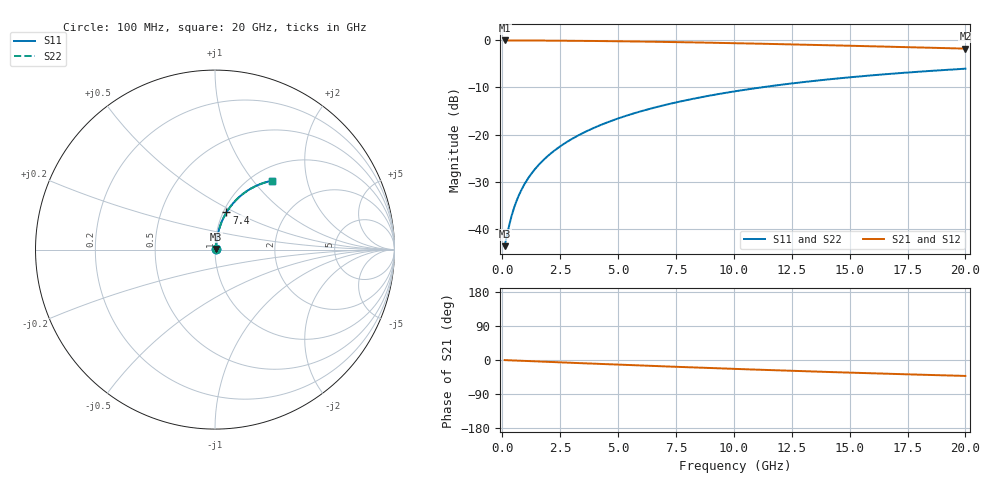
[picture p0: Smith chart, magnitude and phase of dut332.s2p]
! Touchstone file exported from HFSS 2024.1.0
!  File:  C:/UserFiles/LocalFiles/RDL_TSV_Batchsim/temp_RDL_top_332_1779607471.aedt
!  Generated:  03:26:45 PM May 24, 2026
!  Design:  RDL_top
!  Project:  temp_RDL_top_332_1779607471
!  Setup:  Setup1
!  Solution:  Sweep
! Variables:
!  dtsv = 10.80580581um
!  hbump = 3um
!  htsv = 77.45um
!  ldown = 100um
!  lrdl = 495.02um
!  p = 40
!  p1 = 55um
!  rhole = 1um
!  t = 450um
!  tdown = 3.915915916um
!  trdl = 2.69um
!  wdown = 15.38538539um
!  wrdl = 11.4um
# GHz S MA R 50.000000
! Terminal data exported
! Port[1] = Box2_T1
! Port[2] = Box2_T2
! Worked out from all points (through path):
!   200 points, 100 MHz to 20 GHz, reference 50 ohm
!   highest |S21| = -0.05 dB at 100 MHz (marker M1); lowest = -1.8 dB at 20 GHz (marker M2)
!   group delay of S21, straight-line fit = 5.85 ps
!   lowest |S11| = -43.7 dB at 100 MHz (marker M3), VSWR 1.01, Z = 50.6 + j0.312 ohm
!   |S11| at or under -10 dB: start of sweep to 11.18 GHz
!   |S22| runs from -43.7 to -6.0 dB; largest |S21 - S12| = 2.7e-15
!   S11 on the Smith chart (normalised r, x): 100 MHz: 1.01, +0.01; 7.4 GHz: 1.04, +0.45; 20 GHz: 1.23, +1.26
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0.1  0.006563 28.0  0.9942 -0.3  0.9942 -0.3  0.006563 28.0
! Gamma 0 0 0 0
! Port Impedance 50 0 50 0
0.3  0.01098 57.0  0.994 -0.8  0.994 -0.8  0.01098 57.0
0.4  0.01369 63.4  0.9939 -1.0  0.9939 -1.0  0.01369 63.4
0.5  0.01651 67.5  0.9938 -1.3  0.9938 -1.3  0.01651 67.5
0.6  0.01938 70.4  0.9936 -1.5  0.9936 -1.5  0.01938 70.4
0.7  0.02227 72.4  0.9934 -1.8  0.9934 -1.8  0.02227 72.4
0.9  0.02808 75.2  0.9931 -2.3  0.9931 -2.3  0.02808 75.1
1.2  0.03684 77.4  0.9924 -3.0  0.9924 -3.0  0.03684 77.4
1.4  0.0427 78.3  0.992 -3.5  0.992 -3.5  0.04269 78.3
1.7  0.05149 79.1  0.9912 -4.2  0.9912 -4.2  0.05149 79.1
2.2  0.06618 79.7  0.9896 -5.4  0.9896 -5.4  0.06618 79.7
2.8  0.08382 79.7  0.9874 -6.9  0.9874 -6.9  0.08382 79.6
3.5  0.1044 79.1  0.9842 -8.6  0.9842 -8.6  0.1044 79.1
4.2  0.1249 78.3  0.9803 -10.3  0.9803 -10.3  0.1249 78.3
5  0.1481 77.1  0.9753 -12.2  0.9753 -12.2  0.1481 77.1
6.8  0.1995 74.0  0.9615 -16.3  0.9615 -16.3  0.1995 74.0
7.4  0.2163 72.9  0.9562 -17.7  0.9562 -17.7  0.2163 72.9
8.7  0.2519 70.5  0.944 -20.6  0.944 -20.6  0.2519 70.5
10.1  0.2888 67.8  0.9297 -23.6  0.9297 -23.6  0.2888 67.8
13.4  0.3691 61.6  0.8928 -30.3  0.8928 -30.3  0.3691 61.6
16.7  0.4392 55.7  0.8538 -36.4  0.8538 -36.4  0.4391 55.7
20  0.499 50.3  0.8148 -42.0  0.8148 -42.0  0.499 50.3
